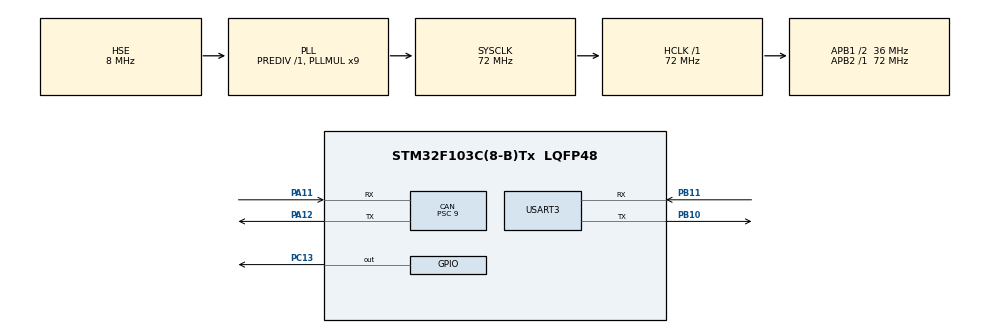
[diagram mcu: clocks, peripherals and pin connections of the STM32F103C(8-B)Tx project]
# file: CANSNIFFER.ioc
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CAN.BS1=CAN_BS1_3TQ
CAN.BS2=CAN_BS2_4TQ
CAN.CalculateTimeBit=2000
CAN.CalculateTimeQuantum=250.0
CAN.Prescaler=9
Mcu.Family=STM32F1
Mcu.Name=STM32F103C(8-B)Tx
Mcu.Package=LQFP48
NVIC.PriorityGroup=NVIC_PRIORITYGROUP_4
NVIC.USB_LP_CAN1_RX0_IRQn=true\:0\:0\:false\:false\:true\:true\:true
PA11.Mode=Master
PA11.Signal=CAN_RX
PA12.Mode=Master
PA12.Signal=CAN_TX
PB10.Mode=Asynchronous
PB10.Signal=USART3_TX
PB11.Mode=Asynchronous
PB11.Signal=USART3_RX
PC13-TAMPER-RTC.Signal=GPIO_Output
PD0-OSC_IN.Mode=HSE-External-Oscillator
PD0-OSC_IN.Signal=RCC_OSC_IN
PD1-OSC_OUT.Mode=HSE-External-Oscillator
PD1-OSC_OUT.Signal=RCC_OSC_OUT
ProjectManager.HeapSize=0x200
ProjectManager.StackSize=0x400
ProjectManager.TargetToolchain=MDK-ARM V5.27
RCC.AHBFreq_Value=72000000
RCC.APB1CLKDivider=RCC_HCLK_DIV2
RCC.APB1Freq_Value=36000000
RCC.APB1TimFreq_Value=72000000
RCC.APB2Freq_Value=72000000
RCC.APB2TimFreq_Value=72000000
RCC.HCLKFreq_Value=72000000
RCC.PLLMUL=RCC_PLL_MUL9
RCC.PLLSourceVirtual=RCC_PLLSOURCE_HSE
RCC.SYSCLKFreq_VALUE=72000000
RCC.SYSCLKSource=RCC_SYSCLKSOURCE_PLLCLK
RCC.USBFreq_Value=72000000
USART3.VirtualMode=VM_ASYNC
VP_SYS_VS_ND.Mode=No_Debug
board=custom

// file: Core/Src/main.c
/* USER CODE BEGIN Header */
/**
  ******************************************************************************
  * @file           : main.c
  * @brief          : Main program body
  ******************************************************************************
  * @attention
  *
  * <h2><center>&copy; Copyright (c) 2021 STMicroelectronics.
  * All rights reserved.</center></h2>
  *
  * This software component is licensed by ST under BSD 3-Clause license,
  * the "License"; You may not use this file except in compliance with the
  * License. You may obtain a copy of the License at:
  *                        opensource.org/licenses/BSD-3-Clause
  *
  ******************************************************************************
  */
/* USER CODE END Header */
#include "main.h"

CAN_HandleTypeDef hcan;

UART_HandleTypeDef huart3;

CAN_RxHeaderTypeDef rxHeader; //CAN Bus Transmit Header
CAN_TxHeaderTypeDef txHeader; //CAN Bus Receive Header
uint8_t canRX[8] = {0,0,0,0,0,0,0,0};  //CAN Bus Receive Buffer
CAN_FilterTypeDef canfil; //CAN Bus Filter
uint32_t canMailbox; //CAN Bus Mail box variable
uint8_t csend[] = {0xc8,0xf7,0x94,0xd3,0x83,0xd7,0xca,0xc3};
void SystemClock_Config(void);
static void MX_GPIO_Init(void);
static void MX_CAN_Init(void);
static void MX_USART3_UART_Init(void);
/* USER CODE BEGIN PFP */
uint8_t data[] = "ERROR!\n";
/* USER CODE END PFP */
uint8_t To_Serial[14];
uint8_t count;
uint8_t i;
uint8_t store[3];

int main(void)
{

  /* MCU Configuration--------------------------------------------------------*/

  /* Reset of all peripherals, Initializes the Flash interface and the Systick. */
  HAL_Init();

  /* Configure the system clock */
  SystemClock_Config();

  /* Initialize all configured peripherals */
  MX_GPIO_Init();
  MX_CAN_Init();
  MX_USART3_UART_Init();

  /* Infinite loop */
  /* USER CODE BEGIN WHILE */
	canfil.FilterBank = 0;
  canfil.FilterMode = CAN_FILTERMODE_IDMASK;
  canfil.FilterFIFOAssignment = CAN_RX_FIFO0;
  canfil.FilterIdHigh = 0;
  canfil.FilterIdLow = 0;
  canfil.FilterMaskIdHigh = 0;
  canfil.FilterMaskIdLow = 0;
  canfil.FilterScale = CAN_FILTERSCALE_32BIT;
  canfil.FilterActivation = ENABLE;
  canfil.SlaveStartFilterBank = 14;

  //txHeader.DLC = 6;
	txHeader.DLC = 8;

  txHeader.IDE = CAN_ID_STD;
	//txHeader.IDE = CAN_ID_EXT;
  txHeader.RTR = CAN_RTR_DATA;
  //txHeader.StdId = 0x1;
	txHeader.StdId = 0x1;
  txHeader.ExtId = 0x02;
  txHeader.TransmitGlobalTime = DISABLE;

	HAL_CAN_ConfigFilter(&hcan,&canfil);
  HAL_CAN_Start(&hcan);
  HAL_CAN_ActivateNotification(&hcan,CAN_IT_RX_FIFO0_MSG_PENDING);

  while (1)
  {

    /* USER CODE END WHILE */

    /* USER CODE BEGIN 3 */

		//HAL_Delay(500);
		//HAL_UART_Transmit(&huart3, data, sizeof(data), 100);
    /* USER CODE BEGIN 3 */
  }
  /* USER CODE END 3 */
}

void SystemClock_Config(void)
{
  RCC_OscInitTypeDef RCC_OscInitStruct = {0};
  RCC_ClkInitTypeDef RCC_ClkInitStruct = {0};

  /** Initializes the RCC Oscillators according to the specified parameters
  * in the RCC_OscInitTypeDef structure.
  */
  RCC_OscInitStruct.OscillatorType = RCC_OSCILLATORTYPE_HSE;
  RCC_OscInitStruct.HSEState = RCC_HSE_ON;
  RCC_OscInitStruct.HSEPredivValue = RCC_HSE_PREDIV_DIV1;
  RCC_OscInitStruct.HSIState = RCC_HSI_ON;
  RCC_OscInitStruct.PLL.PLLState = RCC_PLL_ON;
  RCC_OscInitStruct.PLL.PLLSource = RCC_PLLSOURCE_HSE;
  RCC_OscInitStruct.PLL.PLLMUL = RCC_PLL_MUL9;
  if (HAL_RCC_OscConfig(&RCC_OscInitStruct) != HAL_OK)
  {
    Error_Handler();
  }
  /** Initializes the CPU, AHB and APB buses clocks
  */
  RCC_ClkInitStruct.ClockType = RCC_CLOCKTYPE_HCLK|RCC_CLOCKTYPE_SYSCLK
                              |RCC_CLOCKTYPE_PCLK1|RCC_CLOCKTYPE_PCLK2;
  RCC_ClkInitStruct.SYSCLKSource = RCC_SYSCLKSOURCE_PLLCLK;
  RCC_ClkInitStruct.AHBCLKDivider = RCC_SYSCLK_DIV1;
  RCC_ClkInitStruct.APB1CLKDivider = RCC_HCLK_DIV2;
  RCC_ClkInitStruct.APB2CLKDivider = RCC_HCLK_DIV1;

  if (HAL_RCC_ClockConfig(&RCC_ClkInitStruct, FLASH_LATENCY_2) != HAL_OK)
  {
    Error_Handler();
  }
}

static void MX_CAN_Init(void)
{

  hcan.Instance = CAN1;
  hcan.Init.Prescaler = 9;
  hcan.Init.Mode = CAN_MODE_NORMAL;
  hcan.Init.SyncJumpWidth = CAN_SJW_1TQ;
  hcan.Init.TimeSeg1 = CAN_BS1_3TQ;
  hcan.Init.TimeSeg2 = CAN_BS2_4TQ;
  hcan.Init.TimeTriggeredMode = DISABLE;
  hcan.Init.AutoBusOff = DISABLE;
  hcan.Init.AutoWakeUp = DISABLE;
  hcan.Init.AutoRetransmission = DISABLE;
  hcan.Init.ReceiveFifoLocked = DISABLE;
  hcan.Init.TransmitFifoPriority = DISABLE;
  if (HAL_CAN_Init(&hcan) != HAL_OK)
  {
    Error_Handler();
  }

}

static void MX_USART3_UART_Init(void)
{

  huart3.Instance = USART3;
  huart3.Init.BaudRate = 115200;
  huart3.Init.WordLength = UART_WORDLENGTH_8B;
  huart3.Init.StopBits = UART_STOPBITS_1;
  huart3.Init.Parity = UART_PARITY_NONE;
  huart3.Init.Mode = UART_MODE_TX_RX;
  huart3.Init.HwFlowCtl = UART_HWCONTROL_NONE;
  huart3.Init.OverSampling = UART_OVERSAMPLING_16;
  if (HAL_UART_Init(&huart3) != HAL_OK)
  {
    Error_Handler();
  }

}

static void MX_GPIO_Init(void)
{
  GPIO_InitTypeDef GPIO_InitStruct = {0};

  /* GPIO Ports Clock Enable */
  __HAL_RCC_GPIOC_CLK_ENABLE();
  __HAL_RCC_GPIOD_CLK_ENABLE();
  __HAL_RCC_GPIOB_CLK_ENABLE();
  __HAL_RCC_GPIOA_CLK_ENABLE();

  /*Configure GPIO pin Output Level */
  HAL_GPIO_WritePin(GPIOC, GPIO_PIN_13, GPIO_PIN_RESET);

  /*Configure GPIO pin : PC13 */
  GPIO_InitStruct.Pin = GPIO_PIN_13;
  GPIO_InitStruct.Mode = GPIO_MODE_OUTPUT_PP;
  GPIO_InitStruct.Pull = GPIO_NOPULL;
  GPIO_InitStruct.Speed = GPIO_SPEED_FREQ_LOW;
  HAL_GPIO_Init(GPIOC, &GPIO_InitStruct);

}

/* USER CODE BEGIN 4 */
void HAL_CAN_RxFifo0MsgPendingCallback(CAN_HandleTypeDef *hcan1)
{
	static long ff_count = 0;

	if (ff_count == 10) {
		for (i =0; i < 14; i++)
		    To_Serial[i] = 0xff;
		//HAL_UART_Transmit(&huart3, (uint8_t*)"Hola", 4, 100);
		HAL_UART_Transmit(&huart3, To_Serial, 13, 100);
		//HAL_UART_Transmit(&huart3, (uint8_t*)"Chao", 4, 100);
		ff_count = 0;
	}
	HAL_CAN_GetRxMessage(hcan1, CAN_RX_FIFO0, &rxHeader, canRX);
	HAL_GPIO_TogglePin(GPIOC, GPIO_PIN_13);
	count = (uint8_t)rxHeader.DLC;

	*((uint32_t *)&To_Serial[0]) = rxHeader.StdId;
	To_Serial[4] = (uint8_t)rxHeader.DLC;

	for (i=0; i < (uint8_t)rxHeader.DLC; i++){
  	  To_Serial[5+i] = canRX[i];
	}
	for (; i < sizeof(To_Serial); i++){
	    To_Serial[5+i] = 0;
	}

	HAL_UART_Transmit(&huart3, To_Serial, 13, 100);
	ff_count += 1;
}
/* USER CODE END 4 */

void Error_Handler(void)
{
}

/************************ (C) COPYRIGHT STMicroelectronics *****END OF FILE****/
